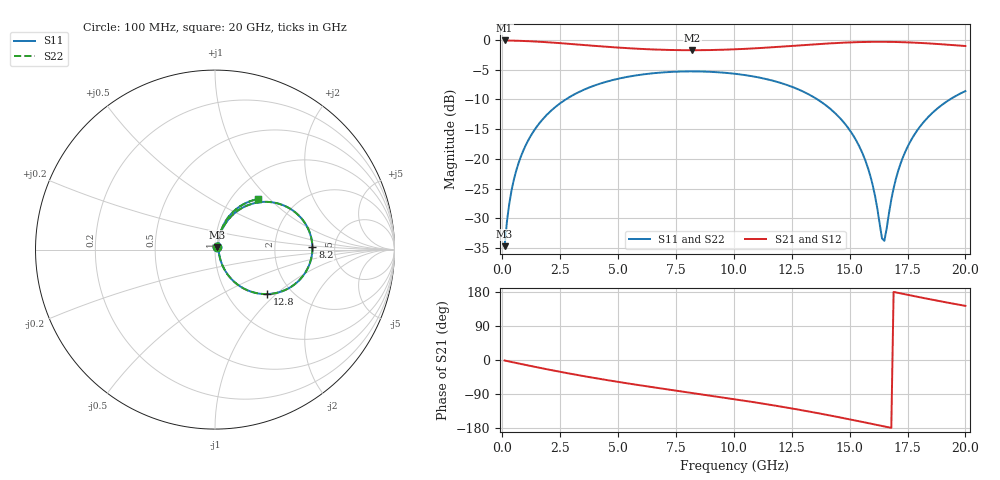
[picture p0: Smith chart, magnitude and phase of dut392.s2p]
! Touchstone file exported from HFSS 2026.1.0
!  File:  C:/ffzhzh/LocalFiles/Ansys_Project_Files/temp_train_TSV_RDL_392_1783091144_35180.aedt
!  Generated:  11:15:03 PM Jul  3, 2026
!  Design:  TSV_RDL
!  Project:  temp_train_TSV_RDL_392_1783091144_35180
! Variables:
!  h_bsmrdl = 4.48um
!  h_ox = 20um
!  h_rdl = 5um
!  h_sub = 85.19um
!  h_tmrdl = 5.69um
!  h_tsv = 85.19um
!  h_via = 3um
!  l_bsmrdl = 338.77um
!  l_sub = 3424.13um
!  l_tmrdl = 475.96um
!  m_sub = 200um
!  pitch = 56um
!  r_tsv = 13.26um
!  s_tmrdl = 10um
!  w_bsmrdl = 15.02um
!  w_sub = 500um
!  w_tmrdl = 19.64um
!  x_tsv_center1 = 485.78um
!  x_tsv_center2 = 839.57um
!  x_tsv_center3 = 1335.17um
!  x_tsv_center4 = 1688.96um
!  x_tsv_center5 = 2184.56um
!  x_tsv_center6 = 2538.35um
# GHz S MA R 50.000000
! Terminal data exported
! Port[1] = TM_RDL1_1_T1
! Port[2] = TM_RDL5_1_T1
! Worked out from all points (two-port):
!   200 points, 100 MHz to 20 GHz, reference 50 ohm
!   highest |S21| = -0.11 dB at 100 MHz (marker M1); lowest = -1.7 dB at 8.2 GHz (marker M2)
!   |S21| within 3 dB of the highest: start of sweep to end of sweep
!   lowest |S11| = -34.7 dB at 100 MHz (marker M3), VSWR 1.04, Z = 51.3 + j1.37 ohm
!   |S11| at or under -10 dB: start of sweep to 2.748 GHz; 13.6 GHz to 19.34 GHz (5.734 GHz wide, 34.8 % of centre)
!   |S22| runs from -34.7 to -5.3 dB; largest |S21 - S12| = 1.7e-14
!   S11 on the Smith chart (normalised r, x): 100 MHz: 1.03, +0.03; 8.2 GHz: 3.37, +0.13; 12.8 GHz: 1.51, -0.88; 20 GHz: 1.32, +0.86
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0.1  0.01849 46.2  0.9874 -1.3  0.9874 -1.3  0.01849 46.2
! Gamma 0 0 0 0
! Port Impedance 50 0 50 0
0.3  0.04192 67.7  0.9857 -4.0  0.9857 -4.0  0.04192 67.7
0.5  0.06697 71.5  0.9836 -6.5  0.9836 -6.5  0.06697 71.5
1.1  0.1407 69.4  0.9745 -14.2  0.9745 -14.2  0.1407 69.4
2.1  0.2531 59.5  0.9496 -26.5  0.9496 -26.5  0.2531 59.5
3.5  0.3789 44.6  0.9049 -42.4  0.9049 -42.4  0.3789 44.6
5  0.4707 29.8  0.8603 -57.7  0.8603 -57.7  0.4707 29.8
6.8  0.5298 13.5  0.8259 -74.5  0.8259 -74.5  0.5298 13.5
8.2  0.5429 1.5  0.8177 -87.0  0.8177 -87.0  0.5429 1.5
10.1  0.5171 -15.0  0.833 -104.1  0.833 -104.1  0.5171 -15.0
12.8  0.3822 -40.4  0.8966 -131.0  0.8966 -131.0  0.3822 -40.4
13.4  0.3342 -46.5  0.9134 -137.7  0.9134 -137.7  0.3342 -46.5
14.6  0.2184 -58.4  0.9433 -151.7  0.9433 -151.7  0.2184 -58.4
15.4  0.1294 -64.3  0.9566 -161.5  0.9566 -161.5  0.1294 -64.4
16  0.05983 -61.1  0.9615 -169.1  0.9615 -169.1  0.0598 -61.2
16.4  0.02148 -16.8  0.962 -174.1  0.962 -174.1  0.02135 -17.0
16.5  0.02051 15.6  0.9618 -175.4  0.9618 -175.4  0.02034 15.6
16.7  0.03504 55.9  0.9609 -177.9  0.9609 -177.9  0.03492 56.1
17.1  0.07961 71.2  0.9575 177.1  0.9575 177.1  0.07953 71.4
17.8  0.1601 70.1  0.9466 168.4  0.9466 168.4  0.16 70.2
18.7  0.256 62.2  0.9252 157.5  0.9252 157.5  0.256 62.3
20  0.3709 49.3  0.8868 142.9  0.8868 142.9  0.3708 49.4
